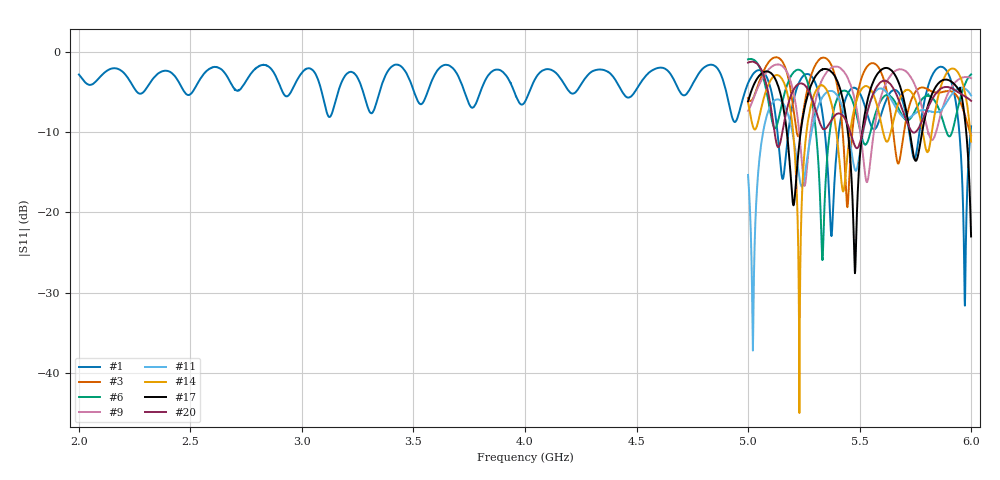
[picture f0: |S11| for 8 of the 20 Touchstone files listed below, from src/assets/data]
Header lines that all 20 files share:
# HZ S RI R 50
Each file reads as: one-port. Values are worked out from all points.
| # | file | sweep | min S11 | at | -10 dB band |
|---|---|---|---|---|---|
| 1 | 1port.s1p | 2 GHz to 6 GHz | -31.6 dB | 5.972 GHz | 62.29 MHz wide |
| 2 | 247-stianx-patch.s1p | 5 GHz to 6 GHz | -38.3 dB | 5.572 GHz | 47.48 MHz wide |
| 3 | actuna-pagoda-2.s1p | 5 GHz to 6 GHz | -19.3 dB | 5.445 GHz | 47.99 MHz wide |
| 4 | crazepony-patch-rpsma.s1p | 5 GHz to 6 GHz | -18.7 dB | 5.728 GHz | 46.34 MHz wide |
| 5 | eachine-ev100-rpsma.s1p | 5 GHz to 6 GHz | -22.7 dB | 5.365 GHz | 105.3 MHz wide |
| 6 | foxeer-pagoda-sma.s1p | 5 GHz to 6 GHz | -25.9 dB | 5.333 GHz | 61.8 MHz wide |
| 7 | hlgrc-lr-hammer.s1p | 5 GHz to 6 GHz | -34.5 dB | 5.351 GHz | 56.54 MHz wide |
| 8 | ibcrazy-crosshair-xtreme-clean.s1p | 5 GHz to 6 GHz | -16.7 dB | 5.233 GHz | 80.2 MHz wide |
| 9 | ibcrazy-crosshair-xtreme.s1p | 5 GHz to 6 GHz | -16.7 dB | 5.253 GHz | 60.73 MHz wide |
| 10 | iflight-long-albatros-sma.s1p | 5 GHz to 6 GHz | -15.8 dB | 5.337 GHz | 40.93 MHz wide |
| 11 | immersionrc-spironet.s1p | 5 GHz to 6 GHz | -37.2 dB | 5.022 GHz | 85.67 MHz wide |
| 12 | lolipop-4-long-sma.s1p | 5 GHz to 6 GHz | -15.7 dB | 5.453 GHz | 44.4 MHz wide |
| 13 | mamba-ultras-sma.s1p | 5 GHz to 6 GHz | -24.8 dB | 5.119 GHz | 69.07 MHz wide |
| 14 | pagoda-rts-rpsma.s1p | 5 GHz to 6 GHz | -45.0 dB | 5.23 GHz | 61.48 MHz wide |
| 15 | realacc-plate-antenna-sma.s1p | 5 GHz to 6 GHz | -35.2 dB | 5.089 GHz | 93.63 MHz wide |
| 16 | rts-pagoda-printed-shell-sma.s1p | 5 GHz to 6 GHz | -32.0 dB | 5.573 GHz | 52.28 MHz wide |
| 17 | tbs-triumph-90-sma.s1p | 5 GHz to 6 GHz | -27.6 dB | 5.479 GHz | 64.03 MHz wide |
| 18 | tbs-triumph-rpsma.s1p | 5 GHz to 6 GHz | -28.5 dB | 5.552 GHz | 58.46 MHz wide |
| 19 | used-pagoda-3-flytime.s1p | 5 GHz to 6 GHz | -28.8 dB | 5.775 GHz | 120.4 MHz wide |
| 20 | walkeera-rodeo-150.s1p | 5 GHz to 6 GHz | -12.0 dB | 5.489 GHz | 54.88 MHz wide |
